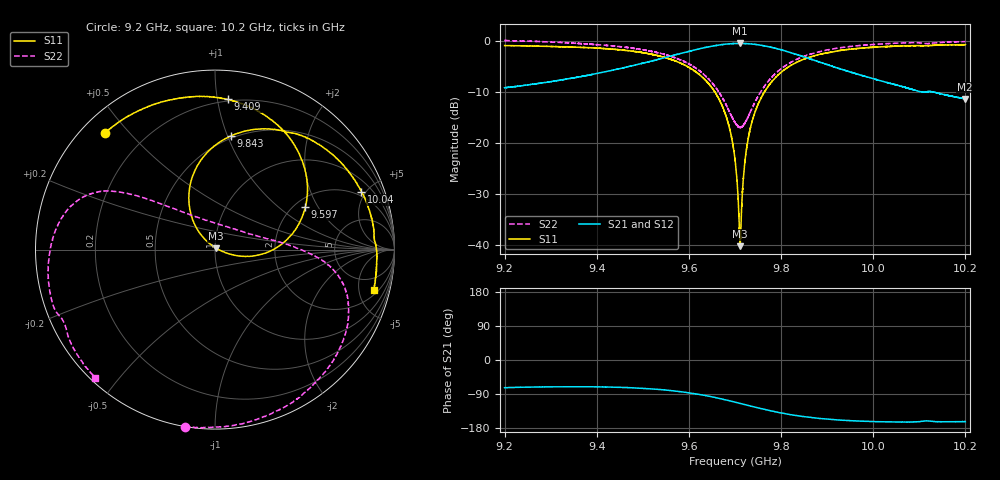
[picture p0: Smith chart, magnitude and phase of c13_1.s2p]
!Agilent Technologies,N5242A,MY51221714,A.09.90.19
!Agilent N5242A: A.09.90.19
!Date: Tuesday, March 26, 2024 15:36:05
!Correction: S11(Full 2 Port(1,2))
!S21(Full 2 Port(1,2))
!S12(Full 2 Port(1,2))
!S22(Full 2 Port(1,2))
!S2P File: Measurements: S11, S21, S12, S22:
# Hz S  dB  R 50
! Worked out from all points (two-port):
!   16001 points, 9.2 GHz to 10.2 GHz, reference 50 ohm
!   highest |S21| = -0.54 dB at 9.71 GHz (marker M1); lowest = -11.4 dB at 10.2 GHz (marker M2)
!   |S21| within 3 dB of the highest: 9.539088 GHz to 9.539367 GHz (278.7 kHz wide, 0.00292 % of centre); 9.539 GHz to 9.861 GHz (322 MHz wide, 3.32 % of centre)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
!   lowest |S11| = -40.3 dB at 9.711 GHz (marker M3), VSWR 1.02, Z = 50.5 + j0.828 ohm
!   |S11| at or under -10 dB: 9.656 GHz to 9.764 GHz (108.5 MHz wide, 1.12 % of centre)
!   |S22| runs from -17.1 to 0.0 dB; largest |S21 - S12| = 0.011
!   S11 on the Smith chart (normalised r, x): 9.2 GHz: 0.07, +0.43; 9.409 GHz: 0.19, +1.07; 9.597 GHz: 2.28, +1.56; 9.843 GHz: 0.48, +1.03; 10.04 GHz: 1.67, +4.68; 10.2 GHz: 2.58, -7.06
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9.2e9  -0.98 133.3  -9.23 -73.1  -9.22 -73.6  0.01 -99.6
9.278562e9  -1.12 116.2  -8.33 -71.1  -8.32 -71.7  -0.19 -78.1
9.366688e9  -1.33 95.8  -7.04 -70.5  -7.02 -71.1  -0.61 -55.0
9.408562e9  -1.51 85.1  -6.29 -71.1  -6.29 -71.6  -0.85 -44.4
9.533375e9  -2.99 48.6  -3.68 -77.6  -3.68 -78.2  -2.39 -16.9
9.596875e9  -5.11 25.3  -2.19 -86.1  -2.18 -86.6  -4.42 -5.8
9.666438e9  -11.71 -5.7  -0.85 -101.5  -0.86 -102.0  -10.29 10.9
9.687062e9  -16.81 -14.6  -0.64 -107.4  -0.63 -107.8  -13.73 26.2
9.7e9  -23.24 -16.8  -0.57 -111.2  -0.57 -111.7  -16.01 46.6
9.7105e9  -39.54 38.8  -0.54 -114.4  -0.55 -114.9  -16.97 71.2
9.711125e9  -40.27 57.7  -0.56 -114.5  -0.55 -115.1  -17.01 72.6
9.714e9  -34.04 118.7  -0.55 -115.5  -0.55 -115.9  -16.94 80.0
9.725688e9  -20.83 134.1  -0.60 -119.0  -0.59 -119.6  -15.47 106.0
9.746188e9  -13.34 126.1  -0.78 -125.2  -0.78 -125.7  -11.56 129.1
9.784688e9  -7.54 107.8  -1.45 -135.9  -1.45 -136.4  -6.71 142.9
9.842812e9  -3.90 82.1  -2.99 -148.3  -2.98 -148.8  -3.35 151.4
9.866688e9  -3.12 72.9  -3.70 -152.1  -3.70 -152.5  -2.57 154.7
9.934438e9  -1.85 50.1  -5.72 -159.1  -5.71 -159.5  -1.32 166.0
1.003338e10  -1.16 22.9  -8.30 -163.2  -8.30 -163.7  -0.59 -173.7
1.003869e10  -1.14 21.5  -8.43 -163.3  -8.42 -163.8  -0.55 -172.4
1.019888e10  -0.82 -13.9  -11.42 -162.5  -11.40 -162.9  -0.21 -133.2
1.02e10  -0.78 -14.3  -11.40 -162.5  -11.42 -163.0  -0.20 -133.0
